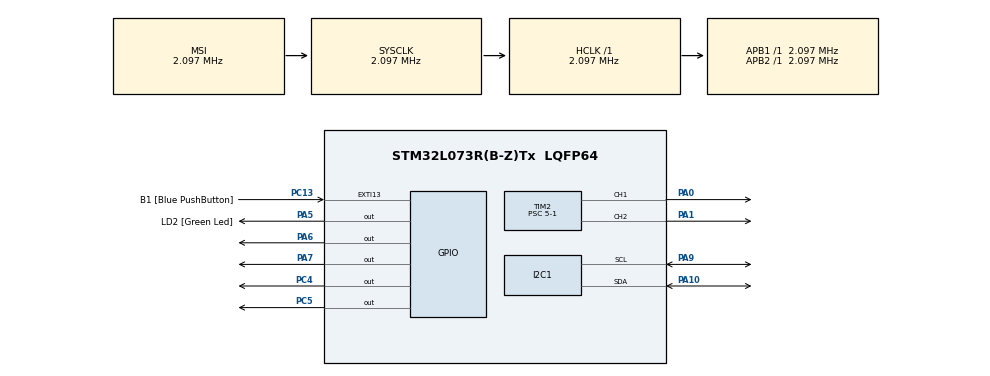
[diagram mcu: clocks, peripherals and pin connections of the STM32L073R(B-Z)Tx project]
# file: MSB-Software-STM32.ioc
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I2C1.OwnAddress=0x20
I2C1.Timing=0x00000608
Mcu.Family=STM32L0
Mcu.Name=STM32L073R(B-Z)Tx
Mcu.Package=LQFP64
NVIC.I2C1_IRQn=true\:0\:0\:false\:false\:true\:true\:true\:true
PA0.Signal=S_TIM2_CH1
PA1.Signal=S_TIM2_CH2
PA10.Mode=I2C
PA10.Signal=I2C1_SDA
PA13.GPIO_Label=TMS
PA13.Signal=SYS_SWDIO
PA14.GPIO_Label=TCK
PA14.Signal=SYS_SWCLK
PA5.GPIO_Label=LD2 [Green Led]
PA5.Signal=GPIO_Output
PA6.Signal=GPIO_Output
PA7.Signal=GPIO_Output
PA9.Mode=I2C
PA9.Signal=I2C1_SCL
PC13.GPIO_Label=B1 [Blue PushButton]
PC13.GPIO_ModeDefaultEXTI=GPIO_MODE_IT_FALLING
PC13.Signal=GPXTI13
PC14-OSC32_IN.Signal=RCC_OSC32_IN
PC15-OSC32_OUT.Signal=RCC_OSC32_OUT
PC4.Signal=GPIO_Output
PC5.Signal=GPIO_Output
PH0-OSC_IN.GPIO_Label=MCO
PH0-OSC_IN.Signal=RCC_OSC_IN
ProjectManager.HeapSize=0x200
ProjectManager.StackSize=0x400
ProjectManager.TargetToolchain=STM32CubeIDE
RCC.AHBFreq_Value=2097000
RCC.APB1Freq_Value=2097000
RCC.APB1TimFreq_Value=2097000
RCC.APB2Freq_Value=2097000
RCC.APB2TimFreq_Value=2097000
RCC.HSE_VALUE=8000000
RCC.HSI16_VALUE=16000000
RCC.HSI48_VALUE=48000000
RCC.HSI_VALUE=16000000
RCC.LSEState=RCC_LSE_ON
RCC.LSE_VALUE=32768
RCC.MSI_VALUE=2097000
RCC.SYSCLKFreq_VALUE=2097000
RCC.VCOOutputFreq_Value=48000000
SH.S_TIM2_CH1.0=TIM2_CH1,PWM Generation1 CH1
SH.S_TIM2_CH2.0=TIM2_CH2,PWM Generation2 CH2
TIM2.Channel-PWM\ Generation1\ CH1=TIM_CHANNEL_1
TIM2.Channel-PWM\ Generation2\ CH2=TIM_CHANNEL_2
TIM2.Period=8000-1
TIM2.Prescaler=5-1
board=NUCLEO-L073RZ

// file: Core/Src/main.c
/* USER CODE BEGIN Header */
/**
  ******************************************************************************
  * @file           : main.c
  * @brief          : Main program body
  ******************************************************************************
  * @attention
  *
  * Copyright (c) 2025 STMicroelectronics.
  * All rights reserved.
  *
  * This software is licensed under terms that can be found in the LICENSE file
  * in the root directory of this software component.
  * If no LICENSE file comes with this software, it is provided AS-IS.
  *
  ******************************************************************************
  */
/* USER CODE END Header */
#include "main.h"

/* USER CODE BEGIN PD */
#define RESET             0         // Reset both droppers and torpedos
#define D1_TRIG           1         // Trigger dropper 1 (drop)
#define D2_TRIG           2         // Trigger dropper 2 (drop)
#define SERVO1_TRIG       3         // Trigger torpedo 1 (fire)
#define SERVO2_TRIG       4         // Trigger torpedo 2 (fire)

// Servo positions for torpedos
#define SERVO_RESET_POS 50
#define SERVO_TRIG_POS 10

// Dropper states
#define DROPPER_RESET_STATE HIGH
#define DROPPER_TRIG_STATE LOW

// I2C slave address for MSB
#define ADDRESS 0x20 	// the 7-bit slave  (unused, configure in CubeMX instead)

#define BUFFER_SIZE 1

/* USER CODE END PD */

I2C_HandleTypeDef hi2c1;

TIM_HandleTypeDef htim2;

/* USER CODE BEGIN PV */
uint8_t rxBuffer;		// Buffer to receive I2C data

/* USER CODE END PV */

void SystemClock_Config(void);
static void MX_GPIO_Init(void);
static void MX_I2C1_Init(void);
static void MX_TIM2_Init(void);

/* USER CODE BEGIN 0 */

/* Functions for changing the servo angles
 * Counter period is 7999
 * angle of 0 translates to CCR = 400 (1 ms high)
 * angle of 180 translates to CCR = 800 (2 ms high)
 */
void setServo1Pos(int angle) {
	TIM2->CCR1 = (angle/180) * 400 + 400;
}
void setServo2Pos(int angle) {
	TIM2->CCR2 = (angle/180) * 400 + 400;
}

// Reset the droppers and servos
void MSBReset() {
	HAL_GPIO_WritePin(GPIOA, GPIO_PIN_6, GPIO_PIN_RESET);
	HAL_GPIO_WritePin(GPIOA, GPIO_PIN_7, GPIO_PIN_RESET);
	setServo1Pos(SERVO_RESET_POS);
	setServo2Pos(SERVO_RESET_POS);
}

// Callback function for when I2C transmission is received and address matches
void HAL_I2C_AddrCallback(I2C_HandleTypeDef *hi2c, uint8_t TransferDirection, uint16_t AddrMatchCode) {
	if (TransferDirection == I2C_DIRECTION_RECEIVE) {
		HAL_I2C_Slave_Receive_IT(&hi2c1, &rxBuffer, BUFFER_SIZE);
	}
}

void HAL_I2C_SlaveRxCpltCallback (I2C_HandleTypeDef *hi2c) {
	switch (rxBuffer) {
	case RESET:
		MSBReset();
		break;
	case D1_TRIG:
		HAL_GPIO_WritePin(GPIOA, GPIO_PIN_6, GPIO_PIN_SET);
		break;
	case D2_TRIG:
		HAL_GPIO_WritePin(GPIOA, GPIO_PIN_7, GPIO_PIN_SET);
		break;
	case SERVO1_TRIG:
		setServo1Pos(SERVO_TRIG_POS);
		break;
	case SERVO2_TRIG:
		setServo2Pos(SERVO_TRIG_POS);
		break;
	default:
		break;
	}
}

// Error callback in case of I2C error
void HAL_I2C_ErrorCallback (I2C_HandleTypeDef * hi2c) {
	HAL_I2C_EnableListen_IT(&hi2c1);
}

/* USER CODE END 0 */

int main(void)
{

  /* MCU Configuration--------------------------------------------------------*/

  /* Reset of all peripherals, Initializes the Flash interface and the Systick. */
  HAL_Init();

  /* Configure the system clock */
  SystemClock_Config();

  /* Initialize all configured peripherals */
  MX_GPIO_Init();
  MX_I2C1_Init();
  MX_TIM2_Init();
  /* USER CODE BEGIN 2 */
  HAL_TIM_PWM_Start(&htim2, TIM_CHANNEL_1);
  HAL_TIM_PWM_Start(&htim2, TIM_CHANNEL_2);
  HAL_I2C_EnableListen_IT(&hi2c1);		//Enables the interrupt to listen for the slave address sent

  MSBReset();
  /* USER CODE END 2 */

  /* Infinite loop */
  while (1)
  {

  }
}

void SystemClock_Config(void)
{
  RCC_OscInitTypeDef RCC_OscInitStruct = {0};
  RCC_ClkInitTypeDef RCC_ClkInitStruct = {0};
  RCC_PeriphCLKInitTypeDef PeriphClkInit = {0};

  /** Configure the main internal regulator output voltage
  */
  __HAL_PWR_VOLTAGESCALING_CONFIG(PWR_REGULATOR_VOLTAGE_SCALE1);

  /** Initializes the RCC Oscillators according to the specified parameters
  * in the RCC_OscInitTypeDef structure.
  */
  RCC_OscInitStruct.OscillatorType = RCC_OSCILLATORTYPE_MSI;
  RCC_OscInitStruct.MSIState = RCC_MSI_ON;
  RCC_OscInitStruct.MSICalibrationValue = 0;
  RCC_OscInitStruct.MSIClockRange = RCC_MSIRANGE_5;
  RCC_OscInitStruct.PLL.PLLState = RCC_PLL_NONE;
  if (HAL_RCC_OscConfig(&RCC_OscInitStruct) != HAL_OK)
  {
    Error_Handler();
  }

  /** Initializes the CPU, AHB and APB buses clocks
  */
  RCC_ClkInitStruct.ClockType = RCC_CLOCKTYPE_HCLK|RCC_CLOCKTYPE_SYSCLK
                              |RCC_CLOCKTYPE_PCLK1|RCC_CLOCKTYPE_PCLK2;
  RCC_ClkInitStruct.SYSCLKSource = RCC_SYSCLKSOURCE_MSI;
  RCC_ClkInitStruct.AHBCLKDivider = RCC_SYSCLK_DIV1;
  RCC_ClkInitStruct.APB1CLKDivider = RCC_HCLK_DIV1;
  RCC_ClkInitStruct.APB2CLKDivider = RCC_HCLK_DIV1;

  if (HAL_RCC_ClockConfig(&RCC_ClkInitStruct, FLASH_LATENCY_0) != HAL_OK)
  {
    Error_Handler();
  }
  PeriphClkInit.PeriphClockSelection = RCC_PERIPHCLK_I2C1;
  PeriphClkInit.I2c1ClockSelection = RCC_I2C1CLKSOURCE_PCLK1;
  if (HAL_RCCEx_PeriphCLKConfig(&PeriphClkInit) != HAL_OK)
  {
    Error_Handler();
  }
}

static void MX_I2C1_Init(void)
{

  hi2c1.Instance = I2C1;
  hi2c1.Init.Timing = 0x00000608;
  hi2c1.Init.OwnAddress1 = 64;
  hi2c1.Init.AddressingMode = I2C_ADDRESSINGMODE_7BIT;
  hi2c1.Init.DualAddressMode = I2C_DUALADDRESS_DISABLE;
  hi2c1.Init.OwnAddress2 = 0;
  hi2c1.Init.OwnAddress2Masks = I2C_OA2_NOMASK;
  hi2c1.Init.GeneralCallMode = I2C_GENERALCALL_DISABLE;
  hi2c1.Init.NoStretchMode = I2C_NOSTRETCH_DISABLE;
  if (HAL_I2C_Init(&hi2c1) != HAL_OK)
  {
    Error_Handler();
  }

  /** Configure Analogue filter
  */
  if (HAL_I2CEx_ConfigAnalogFilter(&hi2c1, I2C_ANALOGFILTER_ENABLE) != HAL_OK)
  {
    Error_Handler();
  }

  /** Configure Digital filter
  */
  if (HAL_I2CEx_ConfigDigitalFilter(&hi2c1, 0) != HAL_OK)
  {
    Error_Handler();
  }

}

static void MX_TIM2_Init(void)
{

  TIM_MasterConfigTypeDef sMasterConfig = {0};
  TIM_OC_InitTypeDef sConfigOC = {0};

  htim2.Instance = TIM2;
  htim2.Init.Prescaler = 5-1;
  htim2.Init.CounterMode = TIM_COUNTERMODE_UP;
  htim2.Init.Period = 8000-1;
  htim2.Init.ClockDivision = TIM_CLOCKDIVISION_DIV1;
  htim2.Init.AutoReloadPreload = TIM_AUTORELOAD_PRELOAD_DISABLE;
  if (HAL_TIM_PWM_Init(&htim2) != HAL_OK)
  {
    Error_Handler();
  }
  sMasterConfig.MasterOutputTrigger = TIM_TRGO_RESET;
  sMasterConfig.MasterSlaveMode = TIM_MASTERSLAVEMODE_DISABLE;
  if (HAL_TIMEx_MasterConfigSynchronization(&htim2, &sMasterConfig) != HAL_OK)
  {
    Error_Handler();
  }
  sConfigOC.OCMode = TIM_OCMODE_PWM1;
  sConfigOC.Pulse = 0;
  sConfigOC.OCPolarity = TIM_OCPOLARITY_HIGH;
  sConfigOC.OCFastMode = TIM_OCFAST_DISABLE;
  if (HAL_TIM_PWM_ConfigChannel(&htim2, &sConfigOC, TIM_CHANNEL_1) != HAL_OK)
  {
    Error_Handler();
  }
  if (HAL_TIM_PWM_ConfigChannel(&htim2, &sConfigOC, TIM_CHANNEL_2) != HAL_OK)
  {
    Error_Handler();
  }
  HAL_TIM_MspPostInit(&htim2);

}

static void MX_GPIO_Init(void)
{
  GPIO_InitTypeDef GPIO_InitStruct = {0};

  /* GPIO Ports Clock Enable */
  __HAL_RCC_GPIOC_CLK_ENABLE();
  __HAL_RCC_GPIOH_CLK_ENABLE();
  __HAL_RCC_GPIOA_CLK_ENABLE();

  /*Configure GPIO pin Output Level */
  HAL_GPIO_WritePin(GPIOA, LD2_Pin|GPIO_PIN_6|GPIO_PIN_7, GPIO_PIN_RESET);

  /*Configure GPIO pin Output Level */
  HAL_GPIO_WritePin(GPIOC, GPIO_PIN_4|GPIO_PIN_5, GPIO_PIN_RESET);

  /*Configure GPIO pin : B1_Pin */
  GPIO_InitStruct.Pin = B1_Pin;
  GPIO_InitStruct.Mode = GPIO_MODE_IT_FALLING;
  GPIO_InitStruct.Pull = GPIO_NOPULL;
  HAL_GPIO_Init(B1_GPIO_Port, &GPIO_InitStruct);

  /*Configure GPIO pins : LD2_Pin PA6 PA7 */
  GPIO_InitStruct.Pin = LD2_Pin|GPIO_PIN_6|GPIO_PIN_7;
  GPIO_InitStruct.Mode = GPIO_MODE_OUTPUT_PP;
  GPIO_InitStruct.Pull = GPIO_NOPULL;
  GPIO_InitStruct.Speed = GPIO_SPEED_FREQ_LOW;
  HAL_GPIO_Init(GPIOA, &GPIO_InitStruct);

  /*Configure GPIO pins : PC4 PC5 */
  GPIO_InitStruct.Pin = GPIO_PIN_4|GPIO_PIN_5;
  GPIO_InitStruct.Mode = GPIO_MODE_OUTPUT_PP;
  GPIO_InitStruct.Pull = GPIO_NOPULL;
  GPIO_InitStruct.Speed = GPIO_SPEED_FREQ_LOW;
  HAL_GPIO_Init(GPIOC, &GPIO_InitStruct);

}

void Error_Handler(void)
{
  __disable_irq();
  while (1)
  {
  }
}
